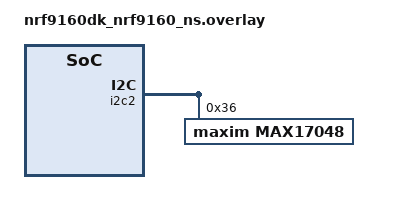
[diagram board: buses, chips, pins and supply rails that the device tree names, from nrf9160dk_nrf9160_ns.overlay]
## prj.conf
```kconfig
# MCUMGR dependencies
CONFIG_NET_BUF=y
CONFIG_ZCBOR=y

# MCU Manager
CONFIG_MCUMGR=y

# Dependencies for IMG and OS groups
CONFIG_STREAM_FLASH=y
CONFIG_FLASH=y
CONFIG_FLASH_MAP=y
CONFIG_IMG_MANAGER=y
CONFIG_BASE64=y

# dfu module dependencies
CONFIG_STREAM_FLASH_ERASE=y

# dfu module
CONFIG_DFU_TARGET=y
CONFIG_DFU_TARGET_MCUBOOT=y

# Test
CONFIG_IMG_MANAGER=y
CONFIG_BOOTLOADER_MCUBOOT=y
CONFIG_MCUBOOT_IMG_MANAGER=y
#CONFIG_IMG_BLOCK_BUF_SIZE=512

# Enable most core commands.
CONFIG_MCUMGR_GRP_IMG=y
CONFIG_MCUMGR_GRP_OS=y

# Enable the serial mcumgr transport.
CONFIG_MCUMGR_TRANSPORT_UART=y

# Some command handlers require a large stack.
CONFIG_SYSTEM_WORKQUEUE_STACK_SIZE=8192
CONFIG_LV_Z_MEM_POOL_NUMBER_BLOCKS=8
CONFIG_MAIN_STACK_SIZE=16384

# For diplay drivers
CONFIG_DISPLAY=y
CONFIG_SPI=y
CONFIG_ST7735R=y

# For LVGL library


# Configs for MAX14048 fuel gauge 
CONFIG_FUEL_GAUGE=y
```

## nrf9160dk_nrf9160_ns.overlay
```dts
/*
 * Overlay file for TD Viking Watch hardware 
 */
  
 &pinctrl {
	uart0_default: uart0_default {
		group1 {
			psels = <NRF_PSEL(UART_TX, 0, 6)>,
				<NRF_PSEL(UART_RTS, 0, 27)>;
		};
		group2 {
			psels = <NRF_PSEL(UART_RX, 0, 5)>,
				<NRF_PSEL(UART_CTS, 0, 26)>;
			bias-pull-up;
		};
	};

	uart0_sleep: uart0_sleep {
		group1 {
			psels = <NRF_PSEL(UART_TX, 0, 6)>,
				<NRF_PSEL(UART_RX, 0, 5)>,
				<NRF_PSEL(UART_RTS, 0, 27)>,
				<NRF_PSEL(UART_CTS, 0, 26)>;
			low-power-enable;
		};
	};

	uart1_default: uart1_default {
		group1 {
			psels = <NRF_PSEL(UART_TX, 0, 6)>,
				<NRF_PSEL(UART_RTS, 0, 14)>;
		};
		group2 {
			psels = <NRF_PSEL(UART_RX, 0, 5)>,
				<NRF_PSEL(UART_CTS, 0, 15)>;
			bias-pull-up;
		};
	};

	uart1_sleep: uart1_sleep {
		group1 {
			psels = <NRF_PSEL(UART_TX, 0, 6)>,
				<NRF_PSEL(UART_RX, 0, 5)>,
				<NRF_PSEL(UART_RTS, 0, 14)>,
				<NRF_PSEL(UART_CTS, 0, 15)>;
			low-power-enable;
		};
	};

	uart2_default: uart2_default {
		group1 {
			psels = <NRF_PSEL(UART_TX, 0, 6)>,
				<NRF_PSEL(UART_RX, 0, 5)>;
		};
	};

	uart2_sleep: uart2_sleep {
		group1 {
			psels = <NRF_PSEL(UART_TX, 0, 6)>,
				<NRF_PSEL(UART_RX, 0, 5)>;
			low-power-enable;
		};
	};

 };

 / {
	chosen {
		maxim,max17048 = &max17048;
	};
 };


 &i2c2 {
	status = "okay";
	compatible = "nordic,nrf-twim";
	pinctrl-0 = <&i2c2_default>;
	pinctrl-1 = <&i2c2_sleep>;
	pinctrl-names = "default", "sleep";

	max17048: max17048@36 {
		compatible = "maxim,max17048";
		status = "ok";
		reg = <0x36 >;
	};
};
```

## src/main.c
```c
/*
 * Copyright (c) 2023 Alvaro Garcia Gomez <maxpowel@gmail.com>
 *
 * SPDX-License-Identifier: Apache-2.0
 */

#include <zephyr/kernel.h>
#include <zephyr/device.h>
#include <zephyr/devicetree.h>
#include <zephyr/drivers/fuel_gauge.h>



int main(void)
{
	const struct device *const dev = DEVICE_DT_GET(DT_CHOSEN(maxim_max17048));
	int ret = 0;

	if (dev == NULL) {
		printk("\nError: no device found.\n");
		return 0;
	}

	if (!device_is_ready(dev)) {
		printk("\nError: Device \"%s\" is not ready; "
		       "check the driver initialization logs for errors.\n",
		       dev->name);
		return 0;
	}

	if (dev == NULL) {
		printk("Found device \"%s\", getting fuel gauge data\n", dev->name);
		return 0;
	}

	while (1) {

		struct fuel_gauge_get_property props[] = {
			{
				.property_type = FUEL_GAUGE_RUNTIME_TO_EMPTY,
			},
			{
				.property_type = FUEL_GAUGE_RUNTIME_TO_FULL,
			},
			{
				.property_type = FUEL_GAUGE_STATE_OF_CHARGE,
			},
			{
				.property_type = FUEL_GAUGE_VOLTAGE,
			}
		};

		ret = fuel_gauge_get_prop(dev, props, ARRAY_SIZE(props));
		if (ret < 0) {
			printk("Error: cannot get properties\n");
		} else {
			if (ret != 0) {
				printk("Warning: Some properties failed\n");
			}

			if (props[0].status == 0) {
				printk("Time to empty %d\n", props[0].value.runtime_to_empty);
			} else {
				printk(
				"Property FUEL_GAUGE_RUNTIME_TO_EMPTY failed with error %d\n",
				props[0].status
				);
			}

			if (props[1].status == 0) {
				printk("Time to full %d\n", props[1].value.runtime_to_full);
			} else {
				printk(
				"Property FUEL_GAUGE_RUNTIME_TO_FULL failed with error %d\n",
				props[1].status
				);
			}

			if (props[2].status == 0) {
				printk("Charge %d%%\n", props[2].value.state_of_charge);
			} else {
				printk(
				"Property FUEL_GAUGE_STATE_OF_CHARGE failed with error %d\n",
				props[2].status
				);
			}

			if (props[3].status == 0) {
				printk("Voltage %d\n", props[3].value.voltage);
			} else {
				printk(
				"Property FUEL_GAUGE_VOLTAGE failed with error %d\n",
				props[3].status
				);
			}
		}


		k_sleep(K_MSEC(5000));
	}
	return 0;
}
```
